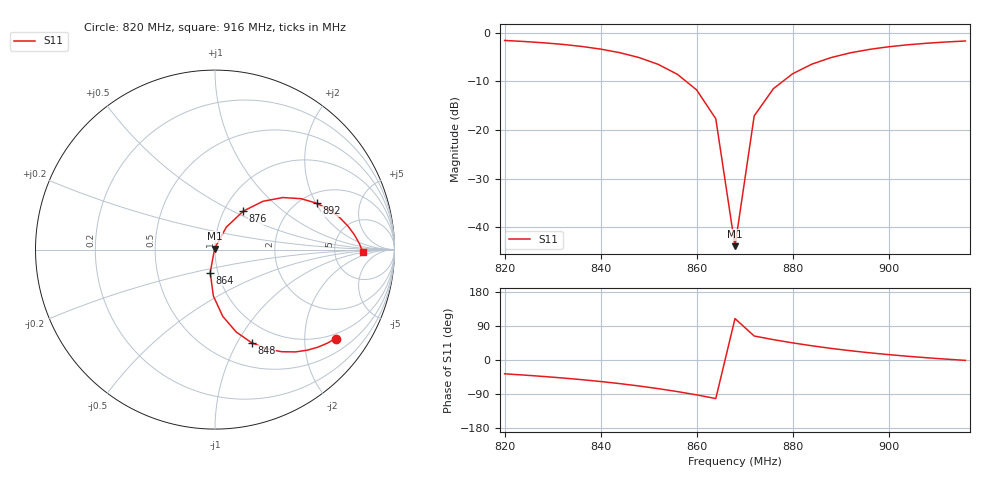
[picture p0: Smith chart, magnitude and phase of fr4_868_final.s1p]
# Hz S RI R 50
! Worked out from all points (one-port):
!   25 points, 820 MHz to 916 MHz, reference 50 ohm
!   lowest |S11| = -43.9 dB at 868 MHz (marker M1), VSWR 1.01, Z = 49.8 + j0.6 ohm
!   |S11| at or under -10 dB: 857.8 MHz to 877.9 MHz (20.11 MHz wide, 2.32 % of centre)
!   S11 on the Smith chart (normalised r, x): 820 MHz: 0.86, -2.81; 848 MHz: 0.76, -1.15; 864 MHz: 0.92, -0.24; 876 MHz: 1.23, +0.57; 892 MHz: 2.40, +2.03; 916 MHz: 10, -1
8.2e8  0.6721 -0.4954
8.24e8  0.6269 -0.5208
8.28e8  0.5751 -0.5429
8.32e8  0.5157 -0.5601
8.36e8  0.4483 -0.5699
8.4e8  0.3728 -0.5691
8.44e8  0.2903 -0.5536
8.48e8  0.2034 -0.5185
8.52e8  0.118 -0.4589
8.56e8  0.0432 -0.3719
8.6e8  -0.00907 -0.2588
8.64e8  -0.0266 -0.1278
8.68e8  -0.00211 0.00603
8.72e8  0.0629 0.1249
8.76e8  0.1578 0.2147
8.8e8  0.2673 0.2691
8.84e8  0.3775 0.29
8.88e8  0.4787 0.2838
8.92e8  0.5661 0.2585
8.96e8  0.6385 0.221
9e8  0.6967 0.1766
9.04e8  0.7426 0.1289
9.08e8  0.7779 0.0804
9.12e8  0.8046 0.0324
9.16e8  0.8243 -0.0141
